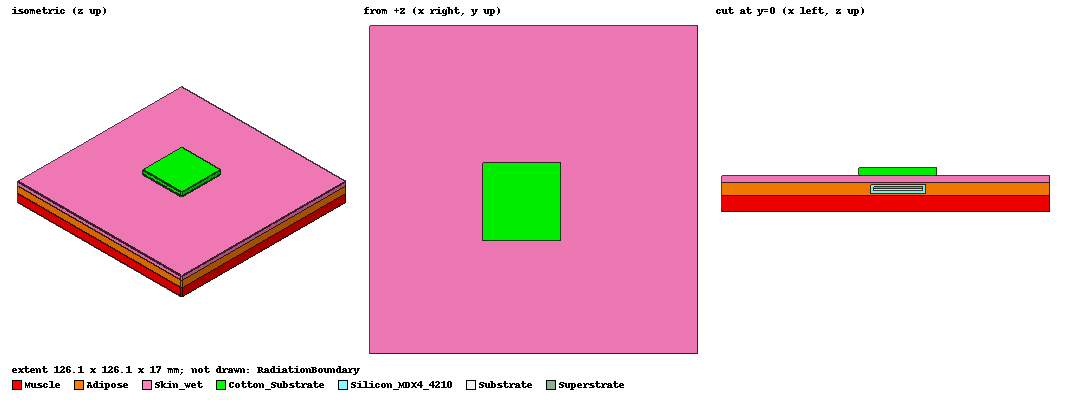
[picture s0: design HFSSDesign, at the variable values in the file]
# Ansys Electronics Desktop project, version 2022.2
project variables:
  $fre = 1400000000
  $thickness = 36um
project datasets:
  $ds1: units GHz, : (5e+17, 48.621) (5.95e+17, 47.764) (6.9e+17, 47.111) (7.85e+17, 46.591) (8.8e+17, 46.162) (9.75e+17, 45.798) (1.07e+18, 45.483) (1.165e+18, 45.204) (1.26e+18, 44.954) (1.355e+18, 44.726) (1.45e+18, 44.516) (1.545e+18, 44.321) (1.64e+18, 44.138) (1.735e+18, 43.964) (1.83e+18, 43.799) (1.925e+18, 43.641) (2.02e+18, 43.489) (2.115e+18, 43.342) (2.21e+18, 43.199) (2.305e+18, 43.059) (2.4e+18, 42.923) (2.495e+18, 42.79) (2.59e+18, 42.658) (2.685e+18, 42.529) (2.78e+18, 42.402) (2.875e+18, 42.276) (2.97e+18, 42.151) (3.065e+18, 42.028) (3.16e+18, 41.905) (3.255e+18, 41.783) (3.35e+18, 41.662) (3.445e+18, 41.542) (3.54e+18, 41.422) (3.635e+18, 41.303) (3.73e+18, 41.184) (3.825e+18, 41.065) (3.92e+18, 40.947) (4.015e+18, 40.829) (4.11e+18, 40.711) (4.205e+18, 40.593) (4.3e+18, 40.475) (4.395e+18, 40.358) (4.49e+18, 40.241) (4.585e+18, 40.123) (4.68e+18, 40.006) (4.775e+18, 39.889) (4.87e+18, 39.771) (4.965e+18, 39.654) (5.06e+18, 39.537) (5.155e+18, 39.42) (5.25e+18, 39.303) (5.345e+18, 39.185) (5.44e+18, 39.068) (5.535e+18, 38.951) (5.63e+18, 38.834) (5.725e+18, 38.717) (5.82e+18, 38.6) (5.915e+18, 38.482) (6.01e+18, 38.365) (6.105e+18, 38.248) (6.2e+18, 38.131) (6.295e+18, 38.014) (6.39e+18, 37.897) (6.485e+18, 37.78) (6.58e+18, 37.663) (6.675e+18, 37.546) (6.77e+18, 37.429) (6.865e+18, 37.312) (6.96e+18, 37.195) (7.055e+18, 37.078) (7.15e+18, 36.961) (7.245e+18, 36.845) (7.34e+18, 36.728) (7.435e+18, 36.612) (7.53e+18, 36.496) (7.625e+18, 36.379) (7.72e+18, 36.263) (7.815e+18, 36.147) (7.91e+18, 36.031) (8.005e+18, 35.916) (8.1e+18, 35.8) (8.195e+18, 35.685) (8.29e+18, 35.569) (8.385e+18, 35.454) (8.48e+18, 35.339) (8.575e+18, 35.225) (8.67e+18, 35.11) (8.765e+18, 34.996) (8.86e+18, 34.881) (8.955e+18, 34.768) (9.05e+18, 34.654) (9.145e+18, 34.54) (9.24e+18, 34.427) (9.335e+18, 34.314) (9.43e+18, 34.201) (9.525e+18, 34.088) (9.62e+18, 33.976) (9.715e+18, 33.863) (9.81e+18, 33.752) (9.905e+18, 33.64) (1e+19, 33.528)
  $ds2: units GHz, : (5e+17, 0.70444) (5.95e+17, 0.73727) (6.9e+17, 0.77006) (7.85e+17, 0.80332) (8.8e+17, 0.83736) (9.75e+17, 0.8724) (1.07e+18, 0.90858) (1.165e+18, 0.94602) (1.26e+18, 0.98478) (1.355e+18, 1.0249) (1.45e+18, 1.0665) (1.545e+18, 1.1094) (1.64e+18, 1.1539) (1.735e+18, 1.1998) (1.83e+18, 1.2472) (1.925e+18, 1.296) (2.02e+18, 1.3463) (2.115e+18, 1.398) (2.21e+18, 1.4512) (2.305e+18, 1.5058) (2.4e+18, 1.5618) (2.495e+18, 1.6193) (2.59e+18, 1.6781) (2.685e+18, 1.7383) (2.78e+18, 1.7998) (2.875e+18, 1.8627) (2.97e+18, 1.9268) (3.065e+18, 1.9923) (3.16e+18, 2.0591) (3.255e+18, 2.1271) (3.35e+18, 2.1963) (3.445e+18, 2.2668) (3.54e+18, 2.3384) (3.635e+18, 2.4112) (3.73e+18, 2.4852) (3.825e+18, 2.5603) (3.92e+18, 2.6365) (4.015e+18, 2.7138) (4.11e+18, 2.7922) (4.205e+18, 2.8716) (4.3e+18, 2.952) (4.395e+18, 3.0335) (4.49e+18, 3.1159) (4.585e+18, 3.1993) (4.68e+18, 3.2836) (4.775e+18, 3.3689) (4.87e+18, 3.4551) (4.965e+18, 3.5421) (5.06e+18, 3.63) (5.155e+18, 3.7188) (5.25e+18, 3.8083) (5.345e+18, 3.8987) (5.44e+18, 3.9899) (5.535e+18, 4.0818) (5.63e+18, 4.1744) (5.725e+18, 4.2678) (5.82e+18, 4.3619) (5.915e+18, 4.4567) (6.01e+18, 4.5521) (6.105e+18, 4.6482) (6.2e+18, 4.745) (6.295e+18, 4.8423) (6.39e+18, 4.9403) (6.485e+18, 5.0388) (6.58e+18, 5.1379) (6.675e+18, 5.2375) (6.77e+18, 5.3377) (6.865e+18, 5.4384) (6.96e+18, 5.5395) (7.055e+18, 5.6412) (7.15e+18, 5.7433) (7.245e+18, 5.8459) (7.34e+18, 5.9488) (7.435e+18, 6.0523) (7.53e+18, 6.1561) (7.625e+18, 6.2603) (7.72e+18, 6.3648) (7.815e+18, 6.4697) (7.91e+18, 6.575) (8.005e+18, 6.6806) (8.1e+18, 6.7865) (8.195e+18, 6.8927) (8.29e+18, 6.9992) (8.385e+18, 7.106) (8.48e+18, 7.213) (8.575e+18, 7.3203) (8.67e+18, 7.4278) (8.765e+18, 7.5355) (8.86e+18, 7.6435) (8.955e+18, 7.7516) (9.05e+18, 7.86) (9.145e+18, 7.9685) (9.24e+18, 8.0771) (9.335e+18, 8.186) (9.43e+18, 8.2949) (9.525e+18, 8.404) (9.62e+18, 8.5132) (9.715e+18, 8.6225) (9.81e+18, 8.7319) (9.905e+18, 8.8414) (1e+19, 8.951)
  $ds3: units GHz, : (5e+17, 5.5444) (5.95e+17, 5.5192) (6.9e+17, 5.4986) (7.85e+17, 5.4809) (8.8e+17, 5.4651) (9.75e+17, 5.4507) (1.07e+18, 5.4372) (1.165e+18, 5.4245) (1.26e+18, 5.4123) (1.355e+18, 5.4006) (1.45e+18, 5.3892) (1.545e+18, 5.3781) (1.64e+18, 5.3673) (1.735e+18, 5.3566) (1.83e+18, 5.3461) (1.925e+18, 5.3357) (2.02e+18, 5.3254) (2.115e+18, 5.3153) (2.21e+18, 5.3052) (2.305e+18, 5.2952) (2.4e+18, 5.2853) (2.495e+18, 5.2754) (2.59e+18, 5.2656) (2.685e+18, 5.2559) (2.78e+18, 5.2462) (2.875e+18, 5.2365) (2.97e+18, 5.2269) (3.065e+18, 5.2173) (3.16e+18, 5.2078) (3.255e+18, 5.1983) (3.35e+18, 5.1888) (3.445e+18, 5.1794) (3.54e+18, 5.17) (3.635e+18, 5.1606) (3.73e+18, 5.1513) (3.825e+18, 5.1419) (3.92e+18, 5.1327) (4.015e+18, 5.1234) (4.11e+18, 5.1142) (4.205e+18, 5.105) (4.3e+18, 5.0958) (4.395e+18, 5.0867) (4.49e+18, 5.0776) (4.585e+18, 5.0685) (4.68e+18, 5.0594) (4.775e+18, 5.0504) (4.87e+18, 5.0414) (4.965e+18, 5.0324) (5.06e+18, 5.0235) (5.155e+18, 5.0146) (5.25e+18, 5.0057) (5.345e+18, 4.9969) (5.44e+18, 4.988) (5.535e+18, 4.9793) (5.63e+18, 4.9705) (5.725e+18, 4.9618) (5.82e+18, 4.9531) (5.915e+18, 4.9444) (6.01e+18, 4.9358) (6.105e+18, 4.9272) (6.2e+18, 4.9186) (6.295e+18, 4.91) (6.39e+18, 4.9015) (6.485e+18, 4.8931) (6.58e+18, 4.8846) (6.675e+18, 4.8762) (6.77e+18, 4.8678) (6.865e+18, 4.8594) (6.96e+18, 4.8511) (7.055e+18, 4.8428) (7.15e+18, 4.8346) (7.245e+18, 4.8264) (7.34e+18, 4.8182) (7.435e+18, 4.81) (7.53e+18, 4.8019) (7.625e+18, 4.7938) (7.72e+18, 4.7857) (7.815e+18, 4.7777) (7.91e+18, 4.7697) (8.005e+18, 4.7618) (8.1e+18, 4.7538) (8.195e+18, 4.7459) (8.29e+18, 4.7381) (8.385e+18, 4.7302) (8.48e+18, 4.7225) (8.575e+18, 4.7147) (8.67e+18, 4.707) (8.765e+18, 4.6993) (8.86e+18, 4.6916) (8.955e+18, 4.684) (9.05e+18, 4.6764) (9.145e+18, 4.6688) (9.24e+18, 4.6613) (9.335e+18, 4.6538) (9.43e+18, 4.6463) (9.525e+18, 4.6389) (9.62e+18, 4.6315) (9.715e+18, 4.6242) (9.81e+18, 4.6168) (9.905e+18, 4.6095) (1e+19, 4.6023)
  $ds4: units GHz, : (5e+17, 0.042793) (5.95e+17, 0.044521) (6.9e+17, 0.046393) (7.85e+17, 0.048409) (8.8e+17, 0.05057) (9.75e+17, 0.052873) (1.07e+18, 0.055315) (1.165e+18, 0.057894) (1.26e+18, 0.060606) (1.355e+18, 0.063448) (1.45e+18, 0.066416) (1.545e+18, 0.069508) (1.64e+18, 0.072719) (1.735e+18, 0.076046) (1.83e+18, 0.079487) (1.925e+18, 0.083038) (2.02e+18, 0.086697) (2.115e+18, 0.090459) (2.21e+18, 0.094324) (2.305e+18, 0.098287) (2.4e+18, 0.10235) (2.495e+18, 0.1065) (2.59e+18, 0.11074) (2.685e+18, 0.11507) (2.78e+18, 0.11949) (2.875e+18, 0.12399) (2.97e+18, 0.12858) (3.065e+18, 0.13324) (3.16e+18, 0.13798) (3.255e+18, 0.14279) (3.35e+18, 0.14767) (3.445e+18, 0.15263) (3.54e+18, 0.15766) (3.635e+18, 0.16275) (3.73e+18, 0.16791) (3.825e+18, 0.17312) (3.92e+18, 0.17841) (4.015e+18, 0.18375) (4.11e+18, 0.18914) (4.205e+18, 0.1946) (4.3e+18, 0.20011) (4.395e+18, 0.20567) (4.49e+18, 0.21128) (4.585e+18, 0.21694) (4.68e+18, 0.22265) (4.775e+18, 0.22841) (4.87e+18, 0.23421) (4.965e+18, 0.24006) (5.06e+18, 0.24595) (5.155e+18, 0.25188) (5.25e+18, 0.25785) (5.345e+18, 0.26385) (5.44e+18, 0.2699) (5.535e+18, 0.27598) (5.63e+18, 0.2821) (5.725e+18, 0.28825) (5.82e+18, 0.29443) (5.915e+18, 0.30065) (6.01e+18, 0.30689) (6.105e+18, 0.31317) (6.2e+18, 0.31947) (6.295e+18, 0.3258) (6.39e+18, 0.33215) (6.485e+18, 0.33854) (6.58e+18, 0.34494) (6.675e+18, 0.35137) (6.77e+18, 0.35782) (6.865e+18, 0.3643) (6.96e+18, 0.37079) (7.055e+18, 0.37731) (7.15e+18, 0.38384) (7.245e+18, 0.39039) (7.34e+18, 0.39696) (7.435e+18, 0.40355) (7.53e+18, 0.41015) (7.625e+18, 0.41676) (7.72e+18, 0.42339) (7.815e+18, 0.43004) (7.91e+18, 0.4367) (8.005e+18, 0.44337) (8.1e+18, 0.45005) (8.195e+18, 0.45674) (8.29e+18, 0.46344) (8.385e+18, 0.47016) (8.48e+18, 0.47688) (8.575e+18, 0.48361) (8.67e+18, 0.49035) (8.765e+18, 0.49709) (8.86e+18, 0.50384) (8.955e+18, 0.5106) (9.05e+18, 0.51737) (9.145e+18, 0.52413) (9.24e+18, 0.53091) (9.335e+18, 0.53769) (9.43e+18, 0.54447) (9.525e+18, 0.55125) (9.62e+18, 0.55804) (9.715e+18, 0.56483) (9.81e+18, 0.57162) (9.905e+18, 0.57842) (1e+19, 0.58521)
  $ds5: units GHz, : (5e+17, 56.445) (5.95e+17, 55.981) (6.9e+17, 55.621) (7.85e+17, 55.328) (8.8e+17, 55.08) (9.75e+17, 54.864) (1.07e+18, 54.671) (1.165e+18, 54.495) (1.26e+18, 54.333) (1.355e+18, 54.181) (1.45e+18, 54.036) (1.545e+18, 53.898) (1.64e+18, 53.765) (1.735e+18, 53.636) (1.83e+18, 53.51) (1.925e+18, 53.386) (2.02e+18, 53.265) (2.115e+18, 53.145) (2.21e+18, 53.026) (2.305e+18, 52.908) (2.4e+18, 52.791) (2.495e+18, 52.674) (2.59e+18, 52.558) (2.685e+18, 52.442) (2.78e+18, 52.326) (2.875e+18, 52.211) (2.97e+18, 52.095) (3.065e+18, 51.979) (3.16e+18, 51.862) (3.255e+18, 51.746) (3.35e+18, 51.629) (3.445e+18, 51.512) (3.54e+18, 51.395) (3.635e+18, 51.277) (3.73e+18, 51.159) (3.825e+18, 51.04) (3.92e+18, 50.921) (4.015e+18, 50.802) (4.11e+18, 50.682) (4.205e+18, 50.562) (4.3e+18, 50.441) (4.395e+18, 50.32) (4.49e+18, 50.199) (4.585e+18, 50.077) (4.68e+18, 49.955) (4.775e+18, 49.832) (4.87e+18, 49.709) (4.965e+18, 49.586) (5.06e+18, 49.462) (5.155e+18, 49.337) (5.25e+18, 49.213) (5.345e+18, 49.088) (5.44e+18, 48.962) (5.535e+18, 48.837) (5.63e+18, 48.711) (5.725e+18, 48.585) (5.82e+18, 48.458) (5.915e+18, 48.331) (6.01e+18, 48.204) (6.105e+18, 48.076) (6.2e+18, 47.949) (6.295e+18, 47.821) (6.39e+18, 47.693) (6.485e+18, 47.564) (6.58e+18, 47.436) (6.675e+18, 47.307) (6.77e+18, 47.178) (6.865e+18, 47.049) (6.96e+18, 46.92) (7.055e+18, 46.79) (7.15e+18, 46.66) (7.245e+18, 46.531) (7.34e+18, 46.401) (7.435e+18, 46.271) (7.53e+18, 46.141) (7.625e+18, 46.011) (7.72e+18, 45.881) (7.815e+18, 45.751) (7.91e+18, 45.62) (8.005e+18, 45.49) (8.1e+18, 45.36) (8.195e+18, 45.229) (8.29e+18, 45.099) (8.385e+18, 44.969) (8.48e+18, 44.838) (8.575e+18, 44.708) (8.67e+18, 44.578) (8.765e+18, 44.448) (8.86e+18, 44.318) (8.955e+18, 44.188) (9.05e+18, 44.058) (9.145e+18, 43.928) (9.24e+18, 43.798) (9.335e+18, 43.668) (9.43e+18, 43.538) (9.525e+18, 43.409) (9.62e+18, 43.28) (9.715e+18, 43.15) (9.81e+18, 43.021) (9.905e+18, 42.892) (1e+19, 42.764)
  $ds6: units GHz, : (5e+17, 0.70444) (5.95e+17, 0.73727) (6.9e+17, 0.77006) (7.85e+17, 0.80332) (8.8e+17, 0.83736) (9.75e+17, 0.8724) (1.07e+18, 0.90858) (1.165e+18, 0.94602) (1.26e+18, 0.98478) (1.355e+18, 1.0249) (1.45e+18, 1.0665) (1.545e+18, 1.1094) (1.64e+18, 1.1539) (1.735e+18, 1.1998) (1.83e+18, 1.2472) (1.925e+18, 1.296) (2.02e+18, 1.3463) (2.115e+18, 1.398) (2.21e+18, 1.4512) (2.305e+18, 1.5058) (2.4e+18, 1.5618) (2.495e+18, 1.6193) (2.59e+18, 1.6781) (2.685e+18, 1.7383) (2.78e+18, 1.7998) (2.875e+18, 1.8627) (2.97e+18, 1.9268) (3.065e+18, 1.9923) (3.16e+18, 2.0591) (3.255e+18, 2.1271) (3.35e+18, 2.1963) (3.445e+18, 2.2668) (3.54e+18, 2.3384) (3.635e+18, 2.4112) (3.73e+18, 2.4852) (3.825e+18, 2.5603) (3.92e+18, 2.6365) (4.015e+18, 2.7138) (4.11e+18, 2.7922) (4.205e+18, 2.8716) (4.3e+18, 2.952) (4.395e+18, 3.0335) (4.49e+18, 3.1159) (4.585e+18, 3.1993) (4.68e+18, 3.2836) (4.775e+18, 3.3689) (4.87e+18, 3.4551) (4.965e+18, 3.5421) (5.06e+18, 3.63) (5.155e+18, 3.7188) (5.25e+18, 3.8083) (5.345e+18, 3.8987) (5.44e+18, 3.9899) (5.535e+18, 4.0818) (5.63e+18, 4.1744) (5.725e+18, 4.2678) (5.82e+18, 4.3619) (5.915e+18, 4.4567) (6.01e+18, 4.5521) (6.105e+18, 4.6482) (6.2e+18, 4.745) (6.295e+18, 4.8423) (6.39e+18, 4.9403) (6.485e+18, 5.0388) (6.58e+18, 5.1379) (6.675e+18, 5.2375) (6.77e+18, 5.3377) (6.865e+18, 5.4384) (6.96e+18, 5.5395) (7.055e+18, 5.6412) (7.15e+18, 5.7433) (7.245e+18, 5.8459) (7.34e+18, 5.9488) (7.435e+18, 6.0523) (7.53e+18, 6.1561) (7.625e+18, 6.2603) (7.72e+18, 6.3648) (7.815e+18, 6.4697) (7.91e+18, 6.575) (8.005e+18, 6.6806) (8.1e+18, 6.7865) (8.195e+18, 6.8927) (8.29e+18, 6.9992) (8.385e+18, 7.106) (8.48e+18, 7.213) (8.575e+18, 7.3203) (8.67e+18, 7.4278) (8.765e+18, 7.5355) (8.86e+18, 7.6435) (8.955e+18, 7.7516) (9.05e+18, 7.86) (9.145e+18, 7.9685) (9.24e+18, 8.0771) (9.335e+18, 8.186) (9.43e+18, 8.2949) (9.525e+18, 8.404) (9.62e+18, 8.5132) (9.715e+18, 8.6225) (9.81e+18, 8.7319) (9.905e+18, 8.8414) (1e+19, 8.951)
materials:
  vacuum: permittivity=1
  copper: permeability=0.999991 conductivity=58000000
  Rogers RT/duroid 6010/6010LM (tm): permittivity=10.2 dielectric_loss_tangent=0.0023
  Skinwet: permittivity=pwl($ds1,Freq) conductivity=pwl($ds2,Freq)
  Adipose: permittivity=pwl($ds3,Freq) conductivity=pwl($ds4,Freq)
  Muscle: permittivity=pwl($ds5,Freq) conductivity=pwl($ds6,Freq)
  silicon_mdx4_4210: permittivity=3
  Silicon_mdx_4210: permittivity=3

design HFSSDesign (HFSS, DrivenTerminal, model units mm)
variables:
  diameter = 19mm
  sub_h = 0.03in
  Ant_diameter = 17.55mm
  trace_t = 1.4mm
  separation = (Ant_diameter -trace_t*N)/(N-1)
  trace_t2 = trace_t
  N = 11
  px = Mf*(trace_t + separation)
  py = Nf*sqrt((Ant_diameter/2)^2 + (Ms*(trace_t+separation))^2)/res_f
  feed_w = 1mm
  lambda = (3E8)/$fre
  air = lambda/4
  sx = Ms*(trace_t + separation)
  sy = Ns*sqrt((Ant_diameter/2)^2 + (Ms*(trace_t + separation))^2)/res_s
  sd = 0.4mm
  Ms = 4.5
  res_s = 10
  Ns = 4
  Mf = -3
  Nf = 0mm
  res_f = 10mm
  Silicon_t = 1mm
  Adipose_t = 5mm
  tissue_pad = lambda/4
  Skin_t = 3mm
  Muscle_t = 6mm
  Cottom_Sub_t = 3mm
  Cotton = 4mm
  Subx = 4mm
  Cotton_Suby = 30mm
  Cotton_Subx = 30mm
  Implantable_depth = -2mm
  N_f = -1  # optimise -1..1
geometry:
  Substrate [Rogers RT/duroid 6010/6010LM (tm)] = cylinder(axis=Z, base_centre=(0mm, 0mm, 0mm), radius=diameter/2, height=-sub_h)
  Circle1 = circle(normal=Z, centre=(0mm, 0mm, -sub_h), radius=diameter/2)
  Circle2 = circle(normal=Z, centre=(0mm, 0mm, 0mm), radius=Ant_diameter/2)
  Rectangle1 = rectangle(corner=(-Ant_diameter/2 + trace_t, -Ant_diameter/2, 0mm), x_size=separation, y_size=Ant_diameter)
  Rectangle1_1..Rectangle1_29 = Rectangle1.duplicate_along_line(step=((separation + trace_t), 0mm, 0mm), total=30)
  Rectangle2 = rectangle(corner=(-diameter/2, 0mm, 0mm), x_size=diameter, y_size=diameter/2)
  Circle3 = circle(normal=Z, centre=(0mm, 0mm, 0mm), radius=Ant_diameter/2 - trace_t2)
  Rectangle2.subtract(Circle3)
  Rectangle3 = rectangle(corner=(-diameter/2, 0mm, 0mm), x_size=diameter, y_size=diameter/2)
  Circle4 = circle(normal=Z, centre=(0mm, 0mm, 0mm), radius=Ant_diameter/2 - trace_t2)
  Rectangle3.subtract(Circle4)
  Rectangle3.mirror(point=(0mm, 0mm, 0mm), normal=(0mm, 1mm, 0mm))
  Rectangle1.unite(Rectangle1_2, Rectangle1_4, Rectangle1_6, Rectangle1_8, Rectangle1_10, Rectangle1_12, Rectangle1_14, Rectangle1_16, Rectangle1_18, Rectangle1_20, Rectangle1_22, Rectangle1_24, Rectangle1_26, Rectangle1_28)
  Rectangle1.subtract(Rectangle2)
  Rectangle1_1.unite(Rectangle1_3, Rectangle1_5, Rectangle1_7, Rectangle1_9, Rectangle1_11, Rectangle1_13, Rectangle1_15, Rectangle1_17, Rectangle1_19, Rectangle1_21, Rectangle1_23, Rectangle1_25, Rectangle1_27, Rectangle1_29)
  Rectangle1_1.subtract(Rectangle3)
  Circle2.subtract(Rectangle1, Rectangle1_1)
  Superstrate [Rogers RT/duroid 6010/6010LM (tm)] = cylinder(axis=Z, base_centre=(0mm, 0mm, 0mm), radius=diameter/2, height=sub_h)
  Feed = rectangle(corner=(px, py - feed_w/2, 0mm), y_size=feed_w, z_size=-sub_h)
  RadiationBoundary [vacuum] = box(corner=(-(diameter/2)/2 -tissue_pad, - (diameter/2)/2 -tissue_pad, -sub_h-Muscle_t), size=(diameter + 2*tissue_pad, diameter + 2*tissue_pad, Muscle_t+Adipose_t+Skin_t+ Cottom_Sub_t +tissue_pad))
  ShortPin [copper] = cylinder(axis=Z, base_centre=(sx, sy, 0mm), radius=sd/2, height=-sub_h)
  Cylinder4 = cylinder(axis=Z, base_centre=(sx, sy, 0mm), radius=sd/2, height=-sub_h)
  Substrate.subtract(Cylinder4)
  Circle5 = circle(normal=Z, centre=(0mm, 0mm, 0mm), radius=Ant_diameter/2)
  Rectangle5 = rectangle(corner=(-Ant_diameter/2 + trace_t, -Ant_diameter/2, 0mm), x_size=separation, y_size=Ant_diameter)
  Rectangle1_30..Rectangle1_58 = Rectangle5.duplicate_along_line(step=((separation + trace_t), 0mm, 0mm), total=30)
  Rectangle5.unite(Rectangle1_31, Rectangle1_33, Rectangle1_35, Rectangle1_37, Rectangle1_39, Rectangle1_41, Rectangle1_43, Rectangle1_45, Rectangle1_47, Rectangle1_49, Rectangle1_51, Rectangle1_53, Rectangle1_55, Rectangle1_57)
  Rectangle6 = rectangle(corner=(-diameter/2, 0mm, 0mm), x_size=diameter, y_size=diameter/2)
  Circle6 = circle(normal=Z, centre=(0mm, 0mm, 0mm), radius=Ant_diameter/2 - trace_t2)
  Rectangle6.subtract(Circle6)
  Rectangle5.subtract(Rectangle6)
  Rectangle1_30.unite(Rectangle1_32, Rectangle1_34, Rectangle1_36, Rectangle1_38, Rectangle1_40, Rectangle1_42, Rectangle1_44, Rectangle1_46, Rectangle1_48, Rectangle1_50, Rectangle1_52, Rectangle1_54, Rectangle1_56, Rectangle1_58)
  Rectangle7 = rectangle(corner=(-diameter/2, 0mm, 0mm), x_size=diameter, y_size=diameter/2)
  Circle7 = circle(normal=Z, centre=(0mm, 0mm, 0mm), radius=Ant_diameter/2 - trace_t2)
  Rectangle7.subtract(Circle7)
  Rectangle7.mirror(point=(0mm, 0mm, 0mm), normal=(0mm, 1mm, 0mm))
  Rectangle1_30.subtract(Rectangle7)
  Circle5.subtract(Rectangle5, Rectangle1_30)
  Silicon_MDX4_4210 [Silicon_mdx_4210] = box(corner=(-(diameter/2)-Silicon_t, -(diameter/2)-Silicon_t, -sub_h-Silicon_t), size=((diameter) + 2*Silicon_t, (diameter) + 2*Silicon_t, 2*sub_h +2*Silicon_t))
  Skin_wet [Skinwet] = box(corner=(-(diameter/2)/2-tissue_pad, -(diameter/2)/2 -tissue_pad, Adipose_t-sub_h), size=(diameter + 2*tissue_pad, diameter + 2*tissue_pad, Skin_t))
  Muscle [Muscle] = box(corner=(-(diameter/2)/2-tissue_pad, -(diameter/2)/2 -tissue_pad, -sub_h), size=(diameter + 2*tissue_pad, diameter + 2*tissue_pad, -(Muscle_t)))
  Adipose [Adipose] = box(corner=(-(diameter/2)/2-tissue_pad, -(diameter/2)/2 -tissue_pad, -sub_h), size=(diameter + 2*tissue_pad, diameter + 2*tissue_pad, Adipose_t))
  Cotton_Substrate [vacuum] = box(corner=(-Cotton_Subx/2, -Cotton_Suby/2, -sub_h+Skin_t+Adipose_t), size=(Cotton_Subx, Cotton_Suby, Cottom_Sub_t))
  [Adipose, Muscle, Skin_wet, RadiationBoundary, Cotton_Substrate].move(0mm, 0mm, Implantable_depth)
  Silicon_MDX4_4211 = box(corner=(-(diameter/2)-Silicon_t, -(diameter/2)-Silicon_t, -sub_h-Silicon_t), size=((diameter) + 2*Silicon_t, (diameter) + 2*Silicon_t, 2*sub_h +2*Silicon_t))
  Silicon_MDX4_4212 = box(corner=(-(diameter/2)-Silicon_t, -(diameter/2)-Silicon_t, -sub_h-Silicon_t), size=((diameter) + 2*Silicon_t, (diameter) + 2*Silicon_t, 2*sub_h +2*Silicon_t))
  Silicon_MDX4_4213 = box(corner=(-(diameter/2)-Silicon_t, -(diameter/2)-Silicon_t, -sub_h-Silicon_t), size=((diameter) + 2*Silicon_t, (diameter) + 2*Silicon_t, 2*sub_h +2*Silicon_t))
  Skin_wet.subtract(Silicon_MDX4_4211)
  Adipose.subtract(Silicon_MDX4_4212)
  Muscle.subtract(Silicon_MDX4_4213)
  Substrate1 = cylinder(axis=Z, base_centre=(0mm, 0mm, 0mm), radius=diameter/2, height=-sub_h)
  Cylinder5 = cylinder(axis=Z, base_centre=(sx, sy, 0mm), radius=sd/2, height=-sub_h)
  Substrate1.subtract(Cylinder5)
  Superstrate1 = cylinder(axis=Z, base_centre=(0mm, 0mm, 0mm), radius=diameter/2, height=sub_h)
  Silicon_MDX4_4210.subtract(Substrate1)
  Silicon_MDX4_4210.subtract(Superstrate1)
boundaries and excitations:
  Rad1: Radiation Objects=RadiationBoundary
  Ant: Layered Impedance Objects=Circle2 Frequency=0GHz IsTwoSided Layers{Layer1{Thickness=$thickness Material=copper}}
  GND: Layered Impedance Objects=Circle1 Frequency=0GHz IsTwoSided Layers{Layer1{Thickness=$thickness Material=copper}}
  Feed: Terminal port=1 Edges=Feed.edge(z at corner) TerminalResistance=50ohm
  1: Lumped Port Faces=Feed.face Impedance=50ohm
  reference conductors: Circle1
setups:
  Setup: HfssDriven Frequency=1.4GHz MaxDeltaS=0.01 MaximumPasses=50 MinimumPasses=1 MinimumConvergedPasses=1 PercentRefinement=30 BasisOrder=1 PortAccuracy=2 DrivenSolverType="Direct Solver"
    sweep Sweep: 1.39GHz to 1.4GHz, 401 points; Type=Interpolating InterpTolerance=0.5 InterpMaxSolns=250 PassivityErrorTolerance=0.0001
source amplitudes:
  1:1: 1V 0deg
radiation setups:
  Infinite Sphere1: Infinite Sphere Theta=0deg..180deg step 2deg Phi=-180deg..180deg step 2deg
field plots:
  Mag_Jsurf1, Mag_Jsurf2, Mag_Jsurf3: Jsurf over Circle5.face(at (0, 0, 0)) on Setup : LastAdaptive at Freq=1.4GHz Phase=0deg
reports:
  Terminal S Parameter Plot 1: dB(St(Feed,Feed)) vs Freq on Setup : Sweep; markers m1 at 1.4GHz, MX1 at x=1.4e+09, MX2 at x=1.395e+09, MX3 at x=1.39e+09
